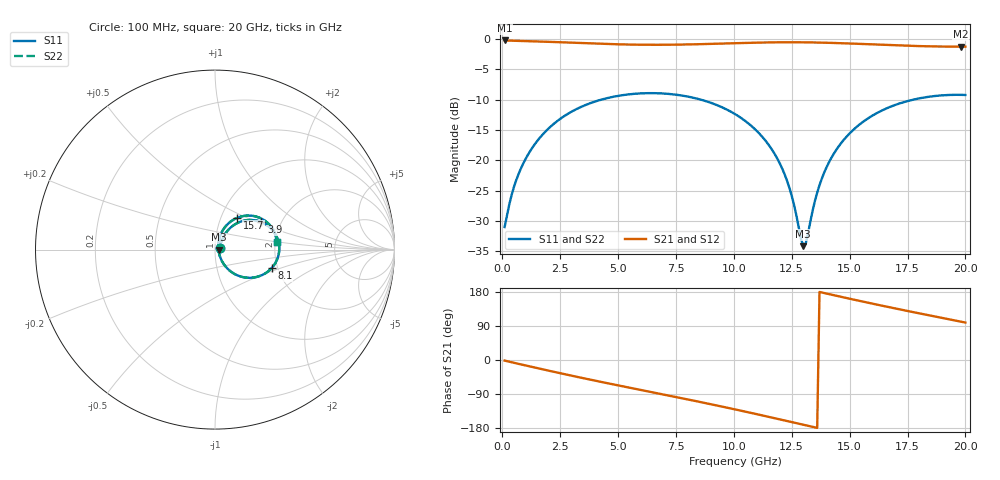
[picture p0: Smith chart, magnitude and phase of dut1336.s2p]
! Touchstone file exported from HFSS 2026.1.0
!  File:  C:/ffzhzh/LocalFiles/Ansys_Project_Files/temp_train_TSV_RDL_1336_1783338623_30076.aedt
!  Generated:  07:59:20 PM Jul  6, 2026
!  Design:  TSV_RDL
!  Project:  temp_train_TSV_RDL_1336_1783338623_30076
! Variables:
!  h_bsmrdl = 3.13um
!  h_ox = 20um
!  h_rdl = 5um
!  h_sub = 60.75um
!  h_tmrdl = 3.12um
!  h_tsv = 60.75um
!  h_via = 3um
!  l_bsmrdl = 978.92um
!  l_sub = 4499.29um
!  l_tmrdl = 264.81um
!  m_sub = 200um
!  pitch = 32.21um
!  r_tsv = 9.01um
!  s_tmrdl = 10um
!  w_bsmrdl = 21.07um
!  w_sub = 500um
!  w_tmrdl = 13.36um
!  x_tsv_center1 = 271.49um
!  x_tsv_center2 = 1271.48um
!  x_tsv_center3 = 1549.65um
!  x_tsv_center4 = 2549.64um
!  x_tsv_center5 = 2827.81um
!  x_tsv_center6 = 3827.8um
# GHz S MA R 50.000000
! Terminal data exported
! Port[1] = TM_RDL1_1_T1
! Port[2] = TM_RDL5_1_T1
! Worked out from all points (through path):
!   200 points, 100 MHz to 20 GHz, reference 50 ohm
!   highest |S21| = -0.23 dB at 100 MHz (marker M1); lowest = -1.2 dB at 19.8 GHz (marker M2)
!   group delay of S21, straight-line fit = 36.3 ps
!   lowest |S11| = -34.2 dB at 13 GHz (marker M3), VSWR 1.04, Z = 52 - j0.0699 ohm
!   |S11| at or under -10 dB: start of sweep to 4.272 GHz; 8.577 GHz to 17.74 GHz (9.168 GHz wide, 69.7 % of centre)
!   |S22| runs from -34.3 to -8.9 dB; largest |S21 - S12| = 1.7e-14
!   S11 on the Smith chart (normalised r, x): 100 MHz: 1.05, +0.02; 3.9 GHz: 1.59, +0.53; 8.1 GHz: 1.86, -0.43; 15.7 GHz: 1.19, +0.44; 20 GHz: 2.03, +0.18
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0.1  0.02811 22.5  0.9743 -1.5  0.9743 -1.5  0.02811 22.5
! Gamma 0 0 0 0
! Port Impedance 50 0 50 0
0.6  0.06833 54.4  0.9673 -8.8  0.9673 -8.8  0.06833 54.4
1.3  0.1271 56.3  0.959 -18.5  0.959 -18.5  0.1271 56.3
2.3  0.2053 48.3  0.9446 -32.2  0.9446 -32.2  0.2054 48.3
3.5  0.2808 35.3  0.925 -48.0  0.925 -48.0  0.2808 35.2
3.9  0.3005 30.7  0.9189 -53.2  0.9189 -53.2  0.3005 30.7
6.8  0.3568 -2.7  0.8973 -89.1  0.8973 -89.1  0.3568 -2.8
8.1  0.3327 -17.8  0.9037 -105.2  0.9037 -105.2  0.3327 -17.9
10.1  0.2374 -41.3  0.9254 -131.0  0.9254 -131.0  0.2375 -41.3
11.1  0.1662 -52.3  0.9356 -144.5  0.9356 -144.5  0.1662 -52.4
11.9  0.1012 -58.6  0.9405 -155.5  0.9405 -155.5  0.1013 -58.8
12.5  0.05087 -55.3  0.9415 -163.8  0.9415 -163.8  0.05084 -55.7
13  0.01954 -2.0  0.9404 -170.8  0.9404 -170.8  0.01918 -2.4
13.1  0.02038 22.3  0.9399 -172.2  0.9399 -172.2  0.01998 22.4
13.4  0.0382 59.8  0.9382 -176.4  0.9382 -176.4  0.0379 60.2
13.8  0.07059 69.0  0.9348 178.1  0.9348 178.1  0.07037 69.3
14.3  0.1119 68.3  0.9293 171.2  0.9293 171.2  0.1117 68.5
15.7  0.2156 55.1  0.9084 152.4  0.9084 152.4  0.2155 55.2
16.7  0.2733 43.8  0.8923 139.5  0.8923 139.5  0.2732 43.9
18.2  0.3292 26.8  0.8734 120.7  0.8734 120.7  0.3291 26.9
19.8  0.3466 8.8  0.866 101.3  0.866 101.3  0.3465 9.0
20  0.3457 6.6  0.8662 98.8  0.8662 98.8  0.3456 6.7
